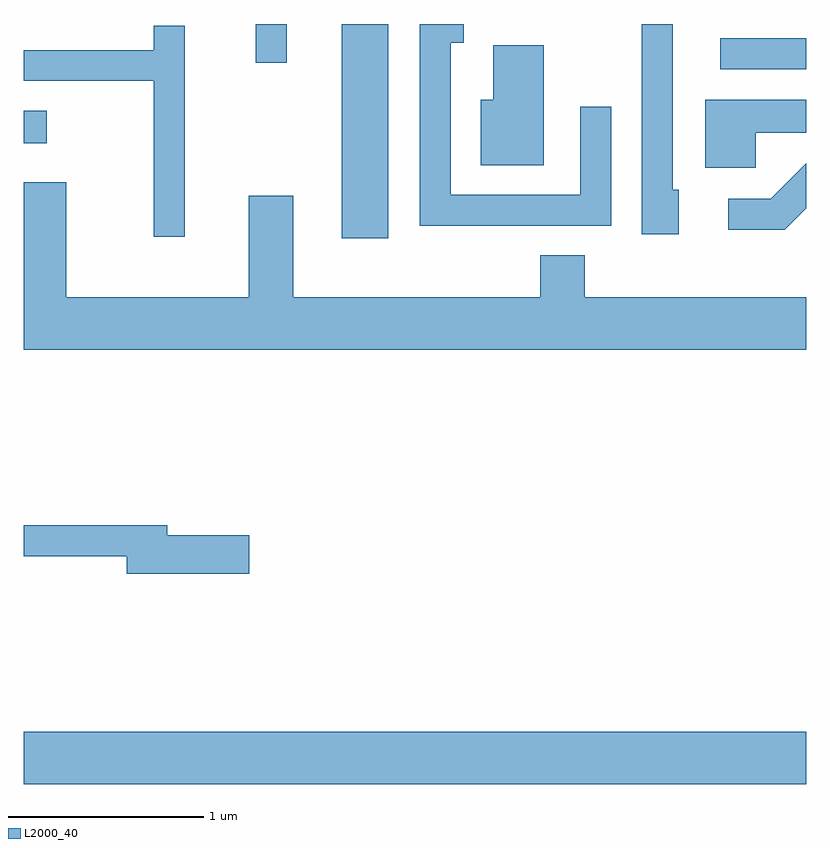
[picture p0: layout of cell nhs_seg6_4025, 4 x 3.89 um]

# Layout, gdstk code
import gdstk
lib = gdstk.Library(unit=1e-6, precision=1e-09)
def R(c, l, rs):  # rectangles x0, y0, x1, y1
    for r in rs: c.add(gdstk.rectangle(r[:2], r[2:], *l))
def P(c, l, *ps):  # polygons
    for p in ps: c.add(gdstk.Polygon(p, *l))
L2000_40 = (2000, 40)

nhs_seg6_4025 = lib.new_cell('nhs_seg6_4025')
R(nhs_seg6_4025, L2000_40, [(307.611,1532.276,311.611,1532.544), (309.236,1535.066,309.474,1536.162), (307.611,1535.551,307.728,1535.719), (311.173,1535.931,311.611,1536.089), (308.796,1535.963,308.954,1536.162)])
P(nhs_seg6_4025, L2000_40, [(310.614,1535.738),(310.456,1535.738),(310.456,1535.289),(309.794,1535.289),(309.794,1536.066),(309.859,1536.066),(309.859,1536.162),(309.636,1536.162),(309.636,1535.131),(310.614,1535.131)],
  [(310.959,1535.314),(310.929,1535.314),(310.929,1536.162),(310.771,1536.162),(310.771,1535.086),(310.959,1535.086)],
  [(308.434,1536.153),(308.276,1536.153),(308.276,1536.029),(307.611,1536.029),(307.611,1535.871),(308.276,1535.871),(308.276,1535.073),(308.434,1535.073)],
  [(310.269,1536.054),(310.011,1536.054),(310.011,1535.774),(309.946,1535.774),(309.946,1535.441),(310.269,1535.441)],
  [(311.354,1535.606),(311.611,1535.606),(311.611,1535.774),(311.096,1535.774),(311.096,1535.426),(311.354,1535.426)],
  [(311.611,1535.22),(311.611,1535.451),(311.429,1535.269),(311.213,1535.269),(311.213,1535.111),(311.502,1535.111)],
  [(311.611,1534.764),(310.479,1534.764),(310.479,1534.979),(310.251,1534.979),(310.251,1534.764),(308.989,1534.764),(308.989,1535.284),(308.761,1535.284),(308.761,1534.764),(307.829,1534.764),(307.829,1535.354),(307.611,1535.354),(307.611,1534.496),(311.611,1534.496)],
  [(308.764,1533.549),(308.344,1533.549),(308.344,1533.599),(307.611,1533.599),(307.611,1533.441),(308.136,1533.441),(308.136,1533.351),(308.764,1533.351)])

lib.write_gds('nhs_seg6_4025.gds')
